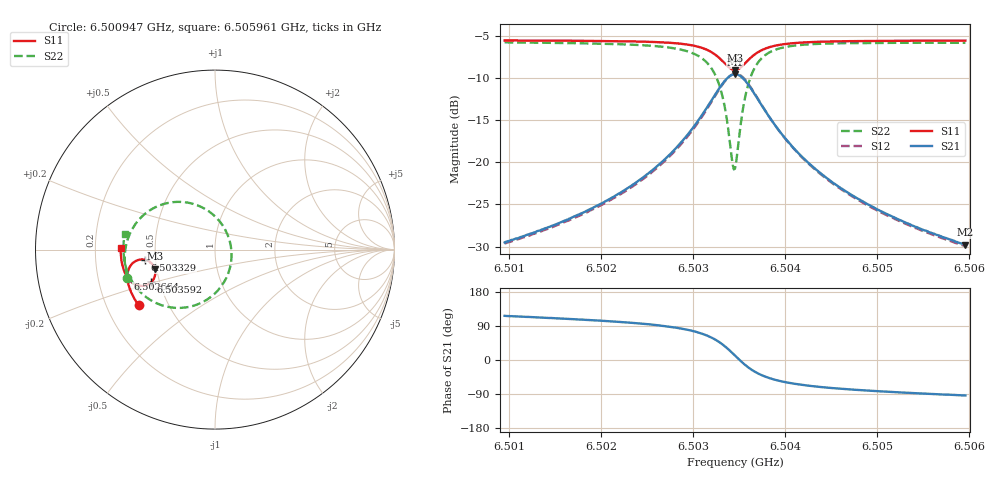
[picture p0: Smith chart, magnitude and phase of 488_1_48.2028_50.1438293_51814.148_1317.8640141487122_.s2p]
#  HZ  S  RI  R  50.00
! Rohde & Schwarz Vector Network Analyzer
! Rohde-Schwarz,ZNB20-2Port,1311601062101988,3.16
! Created: UTC 3/20/2024, 11:57:56 AM
! freq[Hz]  re:S11  im:S11  re:S21  im:S21  re:S12  im:S12  re:S22  im:S22
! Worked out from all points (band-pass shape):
!   401 points, 6.500947 GHz to 6.505961 GHz, reference 50 ohm
!   highest |S21| = -9.57 dB at 6.503454 GHz (marker M1); lowest = -29.8 dB at 6.505961 GHz (marker M2)
!   |S21| within 3 dB of the highest: 6.503204 GHz to 6.503705 GHz (501.4 kHz wide, 0.00771 % of centre)
!   lowest |S11| = -9.1 dB at 6.503454 GHz (marker M3), VSWR 2.09, Z = 24.4 - j5.92 ohm
!   |S11| at or under -10 dB: nowhere
!   |S22| runs from -20.8 to -5.8 dB; largest |S21 - S12| = 0.011
!   S11 on the Smith chart (normalised r, x): 6.500947 GHz: 0.34, -0.29; 6.502664 GHz: 0.33, -0.14; 6.503329 GHz: 0.44, -0.06; 6.503592 GHz: 0.45, -0.19; 6.505961 GHz: 0.31, +0.01
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6.500947e9  -0.4261 -0.3104  -0.015 0.03  -0.0132 0.0303  -0.4894 -0.1556
6.5017868e9  -0.4623 -0.2482  -0.0143 0.0479  -0.0119 0.0475  -0.5027 -0.0665
6.5022255e9  -0.4777 -0.2096  -0.0115 0.066  -0.00873 0.065  -0.5002 -0.0046
6.5026267e9  -0.4875 -0.1654  -0.00222 0.0969  0.00121 0.0947  -0.4801 0.0748
6.5026643e9  -0.488 -0.1605  -0.000477 0.1012  0.0031 0.0987  -0.4763 0.0842
6.50294e9  -0.4838 -0.1175  0.0264 0.1439  0.0298 0.1395  -0.4205 0.1703
6.5031281e9  -0.4625 -0.0792  0.0806 0.1862  0.0829 0.1803  -0.3167 0.2432
6.5032409e9  -0.4296 -0.0585  0.1502 0.2038  0.1508 0.1981  -0.1914 0.2657
6.5033286e9  -0.3889 -0.0567  0.2305 0.1875  0.2305 0.1831  -0.0532 0.2252
6.5034289e9  -0.3421 -0.0914  0.3154 0.0999  0.3182 0.0957  0.0804 0.0537
6.503454e9  -0.3357 -0.1064  0.3256 0.0671  0.3291 0.0621  0.0915 -0.00712
6.5034791e9  -0.3326 -0.1221  0.3293 0.0332  0.3332 0.0269  0.0897 -0.0693
6.5035417e9  -0.3397 -0.1599  0.3108 -0.0457  0.3136 -0.0551  0.0334 -0.2064
6.5035919e9  -0.3563 -0.1823  0.277 -0.0917  0.2772 -0.1026  -0.0437 -0.278
6.503642e9  -0.3765 -0.1955  0.2378 -0.1203  0.2353 -0.131  -0.126 -0.3146
6.5037047e9  -0.4011 -0.202  0.1918 -0.1368  0.1868 -0.1462  -0.2165 -0.3247
6.5038676e9  -0.4478 -0.1925  0.1093 -0.1335  0.1025 -0.1386  -0.3653 -0.2774
6.5040431e9  -0.4753 -0.1711  0.0644 -0.1131  0.0582 -0.1153  -0.4378 -0.2119
6.5042938e9  -0.4963 -0.1411  0.0341 -0.0885  0.0294 -0.089  -0.4815 -0.1394
6.504695e9  -0.5126 -0.0994  0.0143 -0.0639  0.0111 -0.0635  -0.5047 -0.0602
6.5051337e9  -0.5214 -0.0587  0.00514 -0.0483  0.00289 -0.0477  -0.5104 0.00142
6.505961e9  -0.5264 0.0114  -0.00208 -0.0325  -0.00332 -0.0317  -0.5025 0.089
